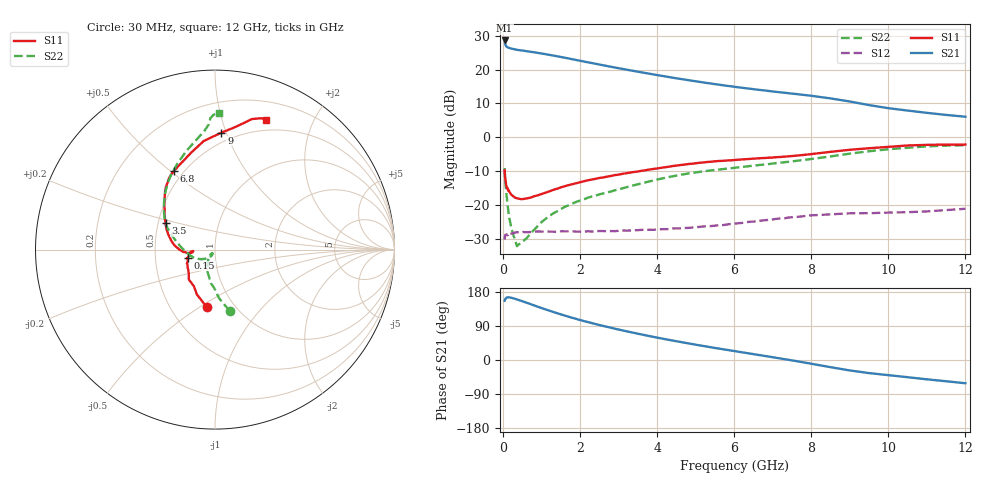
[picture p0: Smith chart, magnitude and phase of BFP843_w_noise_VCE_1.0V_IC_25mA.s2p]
! Infineon Technologies  Discrete & RF Semiconductors
! BFP843
! VCE =  1.0 V,  IC =  25 mA
! Common Emitter S-Parameters:  Aug 2013
# GHz  S  MA  R  50
!  f  S11  S21  S12  S22
! GHz  MAG  ANG  MAG  ANG  MAG  ANG  MAG  ANG
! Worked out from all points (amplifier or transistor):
!   103 points, 30 MHz to 12 GHz, reference 50 ohm
!   highest |S21| = 28.6 dB at 30 MHz (marker M1)
!   |S21| within 3 dB of that: start of sweep to 502.7 MHz
!   unconditionally stable (mu >= 1): 95.52 MHz to 10.93 GHz
!   at 400 MHz: K = 1.03, MAG = 25.9 dB, |S12| = -28.2 dB
!   at 3.7 GHz: K = 1.34, MAG = 19.7 dB, |S12| = -27.4 dB
!   at 12 GHz: K = 0.89, MSG = 13.6 dB, |S12| = -21.1 dB
!   lowest NFmin = 1.12 dB at 450 MHz
!   S11 on the Smith chart (normalised r, x): 30 MHz: 0.75, -0.53; 150 MHz: 0.74, -0.07; 3.5 GHz: 0.55, +0.18; 6.8 GHz: 0.44, +0.51; 9 GHz: 0.42, +0.96; 12 GHz: 0.38, +1.40
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0.03  0.3224 -98.4  26.97 156.5  0.0306 23.6  0.3509 -76.6
0.04  0.2692 -112.1  24.71 158.5  0.0351 18.8  0.271 -85.3
0.05  0.2363 -119.6  23.55 161.6  0.036 21.8  0.2146 -91.1
0.07  0.1983 -137.4  22.14 163.8  0.0356 11.3  0.1581 -101.8
0.1  0.1744 -151.7  21.46 165.2  0.0357 12.6  0.1041 -113.6
0.15  0.1569 -163.5  20.9 165.2  0.0367 7.7  0.0648 -125.6
0.35  0.1248 -176.5  19.63 159.8  0.0395 5.2  0.0245 -129.1
0.8  0.1341 -172.3  18.02 143.9  0.0401 4.3  0.043 -119.9
1.1  0.1519 -172.9  16.88 133.3  0.0404 3.3  0.0624 -131.8
1.3  0.167 -175.2  16.1 126.5  0.0401 3.2  0.0752 -137.1
1.6  0.189 -178.2  14.96 117.0  0.0406 3.1  0.094 -144.9
2.1  0.224 174.5  13.13 102.5  0.0401 3.9  0.1214 -158.5
2.8  0.2677 163.3  10.99 84.9  0.041 5.0  0.1579 -173.7
3.5  0.3121 151.9  9.292 69.2  0.0423 7.5  0.2018 172.3
4.1  0.3531 142.7  8.105 57.0  0.0436 8.3  0.2443 163.1
5  0.4129 132.7  6.709 40.3  0.0466 10.6  0.302 153.6
6.1  0.465 124.2  5.479 21.9  0.0535 11.4  0.3583 142.6
6.8  0.4934 117.6  4.901 10.5  0.0593 9.9  0.3962 135.3
8.5  0.6084 95.9  3.748 -19.0  0.0724 -0.4  0.5206 114.0
9  0.6524 86.9  3.374 -27.6  0.075 -4.2  0.5717 106.3
10.5  0.7552 74.3  2.479 -45.4  0.0779 -11.2  0.6977 92.9
12  0.7791 68.4  2.009 -61.3  0.0876 -18.0  0.7626 88.2
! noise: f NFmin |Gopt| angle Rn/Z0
0.45  1.12  0.15  -173  0.07
0.9  1.12  0.15  -165  0.1
1.5  1.14  0.16  -158  0.19
1.9  1.16  0.16  -147  0.24
2.4  1.18  0.16  -135  0.31
3.5  1.22  0.17  -119  0.36
5.5  1.33  0.29  -107  0.47
10  1.9  0.53  -59  0.64
